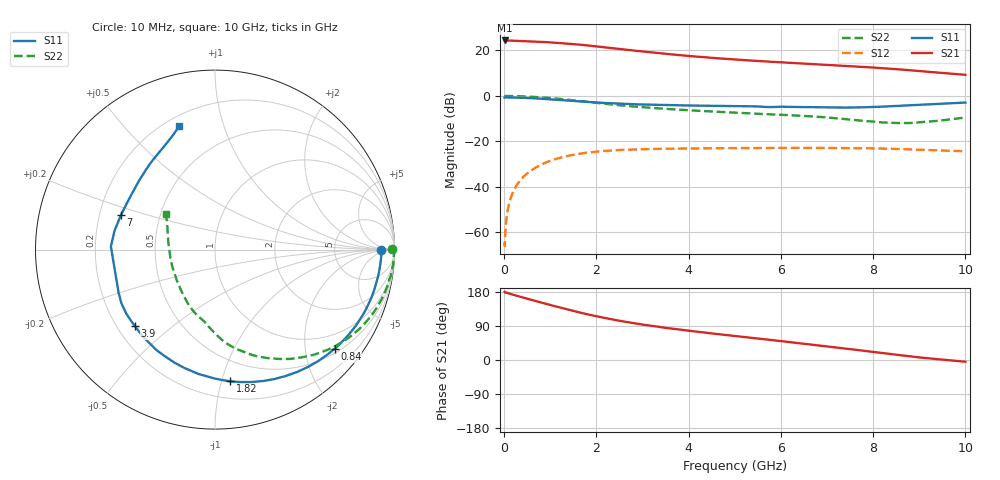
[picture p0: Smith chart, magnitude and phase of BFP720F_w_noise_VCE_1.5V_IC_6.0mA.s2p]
! Infineon Technologies  Discrete & RF Semiconductors
! BFP720F
! VCE =  1.5 V,  IC =  6.0 mA
! Common Emitter S-Parameters:  Jan 2016
# GHz  S  MA  R  50
!  f  S11  S21  S12  S22
! GHz  MAG  ANG  MAG  ANG  MAG  ANG  MAG  ANG
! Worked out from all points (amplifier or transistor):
!   233 points, 10 MHz to 10 GHz, reference 50 ohm
!   highest |S21| = 24.4 dB at 10 MHz (marker M1)
!   |S21| within 3 dB of that: start of sweep to 2.182 GHz
!   unconditionally stable (mu >= 1): start of sweep to 11.7 MHz; 7.678 GHz to end of sweep
!   at 200 MHz: K = 0.04, MSG = 33.1 dB, |S12| = -41.9 dB
!   at 1.74 GHz: K = 0.23, MSG = 23.7 dB, |S12| = -25.1 dB
!   at 10 GHz: K = 1.28, MAG = 13.6 dB, |S12| = -24.3 dB
!   lowest NFmin = 0.45 dB at 450 MHz
!   S11 on the Smith chart (normalised r, x): 10 MHz: 25, +0; 840 MHz: 0.60, -2.65; 1.82 GHz: 0.33, -1.07; 3.9 GHz: 0.27, -0.38; 7 GHz: 0.29, +0.16; 10 GHz: 0.26, +0.72
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0.01  0.9221 0.0  16.56 179.6  0.0006 -4.5  0.9862 0.2
0.015  0.9245 -0.5  16.45 178.7  0.0005 50.6  0.9927 -0.5
0.02  0.927 -0.9  16.34 177.8  0.0008 88.5  0.9994 -1.2
0.08  0.9255 -3.8  16.52 176.6  0.0032 86.6  0.9966 -2.6
0.2  0.9208 -9.4  16.33 172.0  0.008 84.3  0.9924 -6.5
0.45  0.905 -21.2  15.94 163.3  0.0179 77.1  0.9742 -14.7
0.84  0.8654 -39.7  15.39 150.4  0.0322 65.6  0.9256 -27.2
1.04  0.8411 -48.9  14.92 143.9  0.0387 59.9  0.8917 -33.4
1.28  0.8093 -59.9  14.32 136.3  0.0457 53.5  0.8465 -40.6
1.68  0.7553 -77.7  13.29 124.2  0.0547 43.6  0.7654 -51.8
1.82  0.7385 -83.4  12.85 120.3  0.0572 40.5  0.7388 -55.5
2.2  0.6995 -97.4  11.67 110.5  0.0623 32.7  0.6704 -64.3
2.6  0.6689 -109.8  10.49 101.4  0.0656 25.9  0.6109 -72.0
3  0.6483 -120.1  9.479 93.5  0.0676 20.7  0.5649 -78.2
3.4  0.6315 -128.0  8.61 86.7  0.0688 16.3  0.5287 -82.7
3.9  0.6176 -136.2  7.716 78.8  0.0698 11.6  0.491 -87.1
5.1  0.5982 -151.2  6.225 62.0  0.0715 2.9  0.424 -95.6
6.8  0.5607 163.6  4.94 38.8  0.0721 -7.6  0.3473 -113.4
7  0.5581 159.7  4.818 35.8  0.072 -8.8  0.3368 -116.5
8.4  0.5955 128.5  3.942 15.4  0.069 -17.2  0.2562 -158.4
9  0.638 116.9  3.522 6.8  0.0657 -20.0  0.2631 171.4
10  0.7155 106.2  2.911 -4.6  0.0608 -22.1  0.3364 144.0
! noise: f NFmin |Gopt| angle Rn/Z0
0.45  0.45  0.44  3  0.16
0.9  0.47  0.42  10  0.17
1.8  0.52  0.38  19  0.16
2.4  0.56  0.37  28  0.14
5.5  0.74  0.34  62  0.09
10  0.97  0.25  -105  0.15
